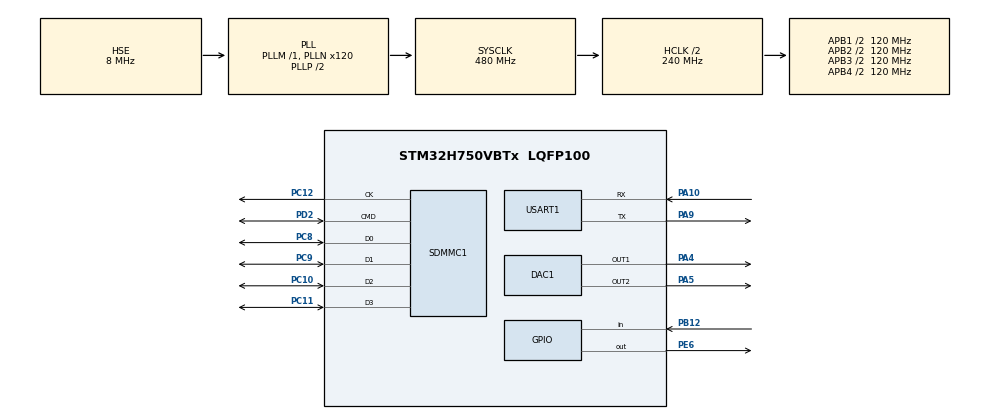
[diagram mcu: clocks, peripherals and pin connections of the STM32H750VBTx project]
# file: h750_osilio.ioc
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CORTEX_M7.default_mode_Activation=1
DAC1.DAC1_OutputBuffer-DAC_OUT1=DAC_OUTPUTBUFFER_ENABLE
DAC1.DAC2_OutputBuffer-DAC_OUT2=DAC_OUTPUTBUFFER_ENABLE
DAC1.DAC_Channel-DAC_OUT1=DAC_CHANNEL_1
DAC1.DAC_Channel-DAC_OUT2=DAC_CHANNEL_2
DAC1.DAC_Trigger-DAC_OUT1=DAC_TRIGGER_T6_TRGO
DAC1.DAC_Trigger-DAC_OUT2=DAC_TRIGGER_T6_TRGO
Dma.DAC1_CH1.0.Direction=DMA_MEMORY_TO_PERIPH
Dma.DAC1_CH1.0.EventEnable=DISABLE
Dma.DAC1_CH1.0.FIFOMode=DMA_FIFOMODE_DISABLE
Dma.DAC1_CH1.0.Instance=DMA1_Stream0
Dma.DAC1_CH1.0.MemDataAlignment=DMA_MDATAALIGN_HALFWORD
Dma.DAC1_CH1.0.MemInc=DMA_MINC_ENABLE
Dma.DAC1_CH1.0.Mode=DMA_CIRCULAR
Dma.DAC1_CH1.0.PeriphDataAlignment=DMA_PDATAALIGN_HALFWORD
Dma.DAC1_CH1.0.PeriphInc=DMA_PINC_DISABLE
Dma.DAC1_CH1.0.Polarity=HAL_DMAMUX_REQ_GEN_RISING
Dma.DAC1_CH1.0.Priority=DMA_PRIORITY_LOW
Dma.DAC1_CH1.0.RequestNumber=1
Dma.DAC1_CH1.0.SignalID=NONE
Dma.DAC1_CH1.0.SyncEnable=DISABLE
Dma.DAC1_CH1.0.SyncPolarity=HAL_DMAMUX_SYNC_NO_EVENT
Dma.DAC1_CH1.0.SyncRequestNumber=1
Dma.DAC1_CH1.0.SyncSignalID=NONE
Dma.DAC1_CH2.1.Direction=DMA_MEMORY_TO_PERIPH
Dma.DAC1_CH2.1.EventEnable=DISABLE
Dma.DAC1_CH2.1.FIFOMode=DMA_FIFOMODE_DISABLE
Dma.DAC1_CH2.1.Instance=DMA1_Stream1
Dma.DAC1_CH2.1.MemDataAlignment=DMA_MDATAALIGN_HALFWORD
Dma.DAC1_CH2.1.MemInc=DMA_MINC_ENABLE
Dma.DAC1_CH2.1.Mode=DMA_CIRCULAR
Dma.DAC1_CH2.1.PeriphDataAlignment=DMA_PDATAALIGN_HALFWORD
Dma.DAC1_CH2.1.PeriphInc=DMA_PINC_DISABLE
Dma.DAC1_CH2.1.Polarity=HAL_DMAMUX_REQ_GEN_RISING
Dma.DAC1_CH2.1.Priority=DMA_PRIORITY_LOW
Dma.DAC1_CH2.1.RequestNumber=1
Dma.DAC1_CH2.1.SignalID=NONE
Dma.DAC1_CH2.1.SyncEnable=DISABLE
Dma.DAC1_CH2.1.SyncPolarity=HAL_DMAMUX_SYNC_NO_EVENT
Dma.DAC1_CH2.1.SyncRequestNumber=1
Dma.DAC1_CH2.1.SyncSignalID=NONE
Dma.Request0=DAC1_CH1
Dma.Request1=DAC1_CH2
FATFS.BSP.number=1
FATFS.USE_DMA_CODE_SD=1
FATFS._USE_LFN=1
FATFS0.BSP.STBoard=false
FATFS0.BSP.api=Unknown
FATFS0.BSP.instance=PB12
FATFS0.BSP.ip=GPIO
FATFS0.BSP.mode=Input
FATFS0.BSP.name=Detect_SDIO
FATFS0.BSP.solution=PB12
Mcu.Family=STM32H7
Mcu.Name=STM32H750VBTx
Mcu.Package=LQFP100
NVIC.DMA1_Stream0_IRQn=true\:2\:0\:true\:false\:true\:false\:true\:true
NVIC.DMA1_Stream1_IRQn=true\:2\:0\:true\:false\:true\:false\:true\:true
NVIC.PriorityGroup=NVIC_PRIORITYGROUP_4
NVIC.SDMMC1_IRQn=true\:1\:0\:true\:false\:true\:true\:true\:true
NVIC.USART1_IRQn=true\:2\:0\:true\:false\:true\:true\:true\:true
PA10.Mode=Asynchronous
PA10.Signal=USART1_RX
PA13\ (JTMS/SWDIO).Mode=Serial_Wire
PA13\ (JTMS/SWDIO).Signal=DEBUG_JTMS-SWDIO
PA14\ (JTCK/SWCLK).Mode=Serial_Wire
PA14\ (JTCK/SWCLK).Signal=DEBUG_JTCK-SWCLK
PA4.Signal=COMP_DAC11_group
PA5.Signal=COMP_DAC12_group
PA9.Mode=Asynchronous
PA9.Signal=USART1_TX
PB12.GPIO_PuPd=GPIO_PULLDOWN
PB12.Signal=GPIO_Input
PC10.Mode=SD_4_bits_Wide_bus
PC10.Signal=SDMMC1_D2
PC11.Mode=SD_4_bits_Wide_bus
PC11.Signal=SDMMC1_D3
PC12.Mode=SD_4_bits_Wide_bus
PC12.Signal=SDMMC1_CK
PC8.Mode=SD_4_bits_Wide_bus
PC8.Signal=SDMMC1_D0
PC9.Mode=SD_4_bits_Wide_bus
PC9.Signal=SDMMC1_D1
PD2.Mode=SD_4_bits_Wide_bus
PD2.Signal=SDMMC1_CMD
PE6.Signal=GPIO_Output
PH0-OSC_IN\ (PH0).Mode=HSE-External-Oscillator
PH0-OSC_IN\ (PH0).Signal=RCC_OSC_IN
PH1-OSC_OUT\ (PH1).Mode=HSE-External-Oscillator
PH1-OSC_OUT\ (PH1).Signal=RCC_OSC_OUT
ProjectManager.HeapSize=0x2800
ProjectManager.StackSize=0x1400
ProjectManager.TargetToolchain=STM32CubeIDE
RCC.ADCFreq_Value=16125000
RCC.APB1Freq_Value=120000000
RCC.APB2Freq_Value=120000000
RCC.APB3Freq_Value=120000000
RCC.APB4Freq_Value=120000000
RCC.CortexFreq_Value=480000000
RCC.D1PPRE=RCC_APB3_DIV2
RCC.D2PPRE1=RCC_APB1_DIV2
RCC.D2PPRE2=RCC_APB2_DIV2
RCC.D3PPRE=RCC_APB4_DIV2
RCC.DIVM1=1
RCC.DIVN1=120
RCC.DIVQ1=4
RCC.HCLKFreq_Value=240000000
RCC.HPRE=RCC_HCLK_DIV2
RCC.HSE_VALUE=8000000
RCC.PLLFRACN=0
RCC.PLLSourceVirtual=RCC_PLLSOURCE_HSE
RCC.SYSCLKFreq_VALUE=480000000
RCC.SYSCLKSource=RCC_SYSCLKSOURCE_PLLCLK
RCC.USBFreq_Value=240000000
SDMMC1.ClockDiv=3
SH.COMP_DAC11_group.0=DAC1_OUT1,DAC_OUT1
SH.COMP_DAC12_group.0=DAC1_OUT2,DAC_OUT2
TIM6.Period=71
TIM6.TIM_MasterOutputTrigger=TIM_TRGO_UPDATE
USART1.VirtualMode-Asynchronous=VM_ASYNC
VP_FATFS_VS_SDIO.Mode=SDIO
VP_MEMORYMAP_VS_MEMORYMAP.Mode=CurAppReg
VP_TIM6_VS_ClockSourceINT.Mode=Enable_Timer
board=custom

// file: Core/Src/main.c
/* USER CODE BEGIN Header */
/**
  ******************************************************************************
  * @file           : main.c
  * @brief          : Main program body
  ******************************************************************************
  * @attention
  *
  * Copyright (c) 2025 STMicroelectronics.
  * All rights reserved.
  *
  * This software is licensed under terms that can be found in the LICENSE file
  * in the root directory of this software component.
  * If no LICENSE file comes with this software, it is provided AS-IS.
  *
  ******************************************************************************
  */
/* USER CODE END Header */
#include "main.h"
#include "fatfs.h"

/* USER CODE BEGIN Includes */
#include <math.h>
#include <stdio.h>
#include <string.h>
/* USER CODE END Includes */

/* USER CODE BEGIN PM */
#define PI 3.1415926535897932384626433832795
#define SIG_N 60000
#define PLAY_CNT 5

/* USER CODE END PM */

DAC_HandleTypeDef hdac1;
DMA_HandleTypeDef hdma_dac1_ch1;
DMA_HandleTypeDef hdma_dac1_ch2;

SD_HandleTypeDef hsd1;

TIM_HandleTypeDef htim6;

UART_HandleTypeDef huart1;

/* USER CODE BEGIN PV */
uint16_t frame_total;
float_t	 target_fps;
uint16_t frame_size;

float_t play_cnt;

uint32_t cur_play;
uint16_t signalXY[2][SIG_N * 2];

uint32_t frame_idx;
uint32_t play_idx;

uint32_t start_tick;
/* USER CODE END PV */

void SystemClock_Config(void);
static void MPU_Config(void);
static void MX_GPIO_Init(void);
static void MX_DMA_Init(void);
static void MX_DAC1_Init(void);
static void MX_TIM6_Init(void);
static void MX_SDMMC1_SD_Init(void);
static void MX_USART1_UART_Init(void);
/* USER CODE BEGIN PFP */
#ifdef __GNUC__
#define PUTCHAR_PROTOTYPE int __io_putchar(int ch)
#else
#define PUTCHAR_PROTOTYPE int fputc(int ch, FILE *f)
#endif
PUTCHAR_PROTOTYPE {
	HAL_UART_Transmit(&huart1, (uint8_t *) &ch, 1, HAL_MAX_DELAY);
	return ch;
}
/* USER CODE END PFP */

/* USER CODE BEGIN 0 */
int LoadSDFileInfo() {
	FRESULT f_res = f_open(&SDFile, "play.bin", FA_READ);
	if (f_res != FR_OK) {
  	return 1;
	}

	uint8_t buffer[6];
	uint32_t br;
	f_res = f_read(&SDFile, (uint8_t *) buffer, 6, &br);

	target_fps = ((uint16_t)buffer[1] << 8 | buffer[0]) / 100.0;
	frame_total = (uint16_t)buffer[3] << 8 | buffer[2];
	frame_size = (uint16_t)buffer[5] << 8 | buffer[4];

	/*
	 * clock fq = 240MHz
	 * TIM6 = 240M / (71+1) = 3MHz
	 * DAC fq = 3MSa/s
	 * fps = DAC fq / frameSize / playCnt =let= targetFps
	 * playCnt = DAC fq / frameSize / targetFps
	 */
	play_cnt = 3000000.0 / frame_size / target_fps;
	if (play_cnt < 1 || frame_size > SIG_N) {
		return 1;
	}

	printf("> frame_total = %d\n", (int)frame_total);
	printf("> target_fps(*100) = %d\n", (int)(target_fps * 100));
	printf("> frame_size = %d\n", (int)frame_size);
	printf("> calculated play_cnt ~= %d\n", (int)play_cnt);
	start_tick = HAL_GetTick();
	return 0;
}
void LoadSDFileFrame(int firstFrame) {
  uint32_t br;
  FRESULT f_res = f_read(&SDFile, (uint8_t *) &signalXY[cur_play ^ 1][0], frame_size * 4, &br);
  frame_idx = (frame_idx + 1) % frame_total;
  if (!frame_idx) {
  	f_lseek(&SDFile, 6);
  	start_tick = HAL_GetTick();
  }
}

void setDAC() {
	float cur_fps = 1.0 * frame_idx / ((HAL_GetTick() - start_tick) * 0.001);
  if (cur_fps < target_fps) {
  	cur_play ^= 1;
  	HAL_TIM_Base_Stop(&htim6);
  	HAL_DAC_Stop_DMA(&hdac1, DAC_CHANNEL_1);
  	HAL_DAC_Stop_DMA(&hdac1, DAC_CHANNEL_2);
  	HAL_DAC_Start_DMA(&hdac1, DAC_CHANNEL_1, (uint32_t *) signalXY[cur_play],				 				 frame_size, DAC_ALIGN_12B_R);
  	HAL_DAC_Start_DMA(&hdac1, DAC_CHANNEL_2, (uint32_t *) (signalXY[cur_play] + frame_size), frame_size, DAC_ALIGN_12B_R);
  	HAL_TIM_Base_Start(&htim6);
  	LoadSDFileFrame(0);
//  	printf("fps = %d\n", (int)(cur_fps * 100));
  }
}
void HAL_DACEx_ConvCpltCallbackCh2(DAC_HandleTypeDef *hdac) {
	setDAC();
}
/* USER CODE END 0 */

int main(void)
{

  /* MPU Configuration--------------------------------------------------------*/
  MPU_Config();

  /* MCU Configuration--------------------------------------------------------*/

  /* Reset of all peripherals, Initializes the Flash interface and the Systick. */
  HAL_Init();

  /* Configure the system clock */
  SystemClock_Config();

  /* Initialize all configured peripherals */
  MX_GPIO_Init();
  MX_DMA_Init();
  MX_DAC1_Init();
  MX_TIM6_Init();
  MX_SDMMC1_SD_Init();
  MX_FATFS_Init();
  MX_USART1_UART_Init();
  /* USER CODE BEGIN 2 */
  if (f_mount(&SDFatFS, "0:", 1) != FR_OK) {
		printf("mount failed.\n");
	} else {
		printf("mount OK.\n");
	}
	HAL_Delay(200);

	int infoRes = LoadSDFileInfo();
	if (infoRes) {
		if (infoRes == 2) {
			printf("too many points or too high fps");
		}
		while (1) {
			; // Read info error.
		}
	}

	frame_idx = 0;
	play_idx = 0;
	cur_play = 0;

	LoadSDFileFrame(1);

	if (frame_total == 1) {
		cur_play ^= 1;
		HAL_TIM_Base_Stop(&htim6);
		HAL_DAC_Stop_DMA(&hdac1, DAC_CHANNEL_1);
		HAL_DAC_Stop_DMA(&hdac1, DAC_CHANNEL_2);
		HAL_DAC_Start_DMA(&hdac1, DAC_CHANNEL_1, (uint32_t *) signalXY[cur_play],				 				 frame_size, DAC_ALIGN_12B_R);
		HAL_DAC_Start_DMA(&hdac1, DAC_CHANNEL_2, (uint32_t *) (signalXY[cur_play] + frame_size), frame_size, DAC_ALIGN_12B_R);
		HAL_TIM_Base_Start(&htim6);

		while (1) {
			;
		}
	}

	HAL_TIM_Base_Stop(&htim6);
	HAL_DAC_Stop_DMA(&hdac1, DAC_CHANNEL_1);
	HAL_DAC_Stop_DMA(&hdac1, DAC_CHANNEL_2);
	HAL_DAC_Start_DMA(&hdac1, DAC_CHANNEL_1, (uint32_t *) signalXY[cur_play],				 				 frame_size, DAC_ALIGN_12B_R);
	HAL_DAC_Start_DMA(&hdac1, DAC_CHANNEL_2, (uint32_t *) (signalXY[cur_play] + frame_size), frame_size, DAC_ALIGN_12B_R);
	HAL_TIM_Base_Start(&htim6);
	LoadSDFileFrame(0);
  /* USER CODE END 2 */

  /* Infinite loop */
  while (1)
  {

  }
}

void SystemClock_Config(void)
{
  RCC_OscInitTypeDef RCC_OscInitStruct = {0};
  RCC_ClkInitTypeDef RCC_ClkInitStruct = {0};

  /** Supply configuration update enable
  */
  HAL_PWREx_ConfigSupply(PWR_LDO_SUPPLY);

  /** Configure the main internal regulator output voltage
  */
  __HAL_PWR_VOLTAGESCALING_CONFIG(PWR_REGULATOR_VOLTAGE_SCALE0);

  while(!__HAL_PWR_GET_FLAG(PWR_FLAG_VOSRDY)) {}

  /** Initializes the RCC Oscillators according to the specified parameters
  * in the RCC_OscInitTypeDef structure.
  */
  RCC_OscInitStruct.OscillatorType = RCC_OSCILLATORTYPE_HSE;
  RCC_OscInitStruct.HSEState = RCC_HSE_ON;
  RCC_OscInitStruct.PLL.PLLState = RCC_PLL_ON;
  RCC_OscInitStruct.PLL.PLLSource = RCC_PLLSOURCE_HSE;
  RCC_OscInitStruct.PLL.PLLM = 1;
  RCC_OscInitStruct.PLL.PLLN = 120;
  RCC_OscInitStruct.PLL.PLLP = 2;
  RCC_OscInitStruct.PLL.PLLQ = 4;
  RCC_OscInitStruct.PLL.PLLR = 2;
  RCC_OscInitStruct.PLL.PLLRGE = RCC_PLL1VCIRANGE_3;
  RCC_OscInitStruct.PLL.PLLVCOSEL = RCC_PLL1VCOWIDE;
  RCC_OscInitStruct.PLL.PLLFRACN = 0;
  if (HAL_RCC_OscConfig(&RCC_OscInitStruct) != HAL_OK)
  {
    Error_Handler();
  }

  /** Initializes the CPU, AHB and APB buses clocks
  */
  RCC_ClkInitStruct.ClockType = RCC_CLOCKTYPE_HCLK|RCC_CLOCKTYPE_SYSCLK
                              |RCC_CLOCKTYPE_PCLK1|RCC_CLOCKTYPE_PCLK2
                              |RCC_CLOCKTYPE_D3PCLK1|RCC_CLOCKTYPE_D1PCLK1;
  RCC_ClkInitStruct.SYSCLKSource = RCC_SYSCLKSOURCE_PLLCLK;
  RCC_ClkInitStruct.SYSCLKDivider = RCC_SYSCLK_DIV1;
  RCC_ClkInitStruct.AHBCLKDivider = RCC_HCLK_DIV2;
  RCC_ClkInitStruct.APB3CLKDivider = RCC_APB3_DIV2;
  RCC_ClkInitStruct.APB1CLKDivider = RCC_APB1_DIV2;
  RCC_ClkInitStruct.APB2CLKDivider = RCC_APB2_DIV2;
  RCC_ClkInitStruct.APB4CLKDivider = RCC_APB4_DIV2;

  if (HAL_RCC_ClockConfig(&RCC_ClkInitStruct, FLASH_LATENCY_4) != HAL_OK)
  {
    Error_Handler();
  }
}

static void MX_DAC1_Init(void)
{

  DAC_ChannelConfTypeDef sConfig = {0};

  /** DAC Initialization
  */
  hdac1.Instance = DAC1;
  if (HAL_DAC_Init(&hdac1) != HAL_OK)
  {
    Error_Handler();
  }

  /** DAC channel OUT1 config
  */
  sConfig.DAC_SampleAndHold = DAC_SAMPLEANDHOLD_DISABLE;
  sConfig.DAC_Trigger = DAC_TRIGGER_T6_TRGO;
  sConfig.DAC_OutputBuffer = DAC_OUTPUTBUFFER_ENABLE;
  sConfig.DAC_ConnectOnChipPeripheral = DAC_CHIPCONNECT_DISABLE;
  sConfig.DAC_UserTrimming = DAC_TRIMMING_FACTORY;
  if (HAL_DAC_ConfigChannel(&hdac1, &sConfig, DAC_CHANNEL_1) != HAL_OK)
  {
    Error_Handler();
  }

  /** DAC channel OUT2 config
  */
  if (HAL_DAC_ConfigChannel(&hdac1, &sConfig, DAC_CHANNEL_2) != HAL_OK)
  {
    Error_Handler();
  }

}

static void MX_SDMMC1_SD_Init(void)
{

  hsd1.Instance = SDMMC1;
  hsd1.Init.ClockEdge = SDMMC_CLOCK_EDGE_RISING;
  hsd1.Init.ClockPowerSave = SDMMC_CLOCK_POWER_SAVE_DISABLE;
  hsd1.Init.BusWide = SDMMC_BUS_WIDE_4B;
  hsd1.Init.HardwareFlowControl = SDMMC_HARDWARE_FLOW_CONTROL_DISABLE;
  hsd1.Init.ClockDiv = 3;
  if (HAL_SD_Init(&hsd1) != HAL_OK)
  {
    Error_Handler();
  }

}

static void MX_TIM6_Init(void)
{

  TIM_MasterConfigTypeDef sMasterConfig = {0};

  htim6.Instance = TIM6;
  htim6.Init.Prescaler = 0;
  htim6.Init.CounterMode = TIM_COUNTERMODE_UP;
  htim6.Init.Period = 71;
  htim6.Init.AutoReloadPreload = TIM_AUTORELOAD_PRELOAD_DISABLE;
  if (HAL_TIM_Base_Init(&htim6) != HAL_OK)
  {
    Error_Handler();
  }
  sMasterConfig.MasterOutputTrigger = TIM_TRGO_UPDATE;
  sMasterConfig.MasterSlaveMode = TIM_MASTERSLAVEMODE_DISABLE;
  if (HAL_TIMEx_MasterConfigSynchronization(&htim6, &sMasterConfig) != HAL_OK)
  {
    Error_Handler();
  }

}

static void MX_USART1_UART_Init(void)
{

  huart1.Instance = USART1;
  huart1.Init.BaudRate = 115200;
  huart1.Init.WordLength = UART_WORDLENGTH_8B;
  huart1.Init.StopBits = UART_STOPBITS_1;
  huart1.Init.Parity = UART_PARITY_NONE;
  huart1.Init.Mode = UART_MODE_TX_RX;
  huart1.Init.HwFlowCtl = UART_HWCONTROL_NONE;
  huart1.Init.OverSampling = UART_OVERSAMPLING_16;
  huart1.Init.OneBitSampling = UART_ONE_BIT_SAMPLE_DISABLE;
  huart1.Init.ClockPrescaler = UART_PRESCALER_DIV1;
  huart1.AdvancedInit.AdvFeatureInit = UART_ADVFEATURE_NO_INIT;
  if (HAL_UART_Init(&huart1) != HAL_OK)
  {
    Error_Handler();
  }
  if (HAL_UARTEx_SetTxFifoThreshold(&huart1, UART_TXFIFO_THRESHOLD_1_8) != HAL_OK)
  {
    Error_Handler();
  }
  if (HAL_UARTEx_SetRxFifoThreshold(&huart1, UART_RXFIFO_THRESHOLD_1_8) != HAL_OK)
  {
    Error_Handler();
  }
  if (HAL_UARTEx_DisableFifoMode(&huart1) != HAL_OK)
  {
    Error_Handler();
  }

}

static void MX_DMA_Init(void)
{

  /* DMA controller clock enable */
  __HAL_RCC_DMA1_CLK_ENABLE();

  /* DMA interrupt init */
  /* DMA1_Stream0_IRQn interrupt configuration */
  HAL_NVIC_SetPriority(DMA1_Stream0_IRQn, 2, 0);
  HAL_NVIC_EnableIRQ(DMA1_Stream0_IRQn);
  /* DMA1_Stream1_IRQn interrupt configuration */
  HAL_NVIC_SetPriority(DMA1_Stream1_IRQn, 2, 0);
  HAL_NVIC_EnableIRQ(DMA1_Stream1_IRQn);

}

static void MX_GPIO_Init(void)
{
  GPIO_InitTypeDef GPIO_InitStruct = {0};

  /* GPIO Ports Clock Enable */
  __HAL_RCC_GPIOE_CLK_ENABLE();
  __HAL_RCC_GPIOH_CLK_ENABLE();
  __HAL_RCC_GPIOA_CLK_ENABLE();
  __HAL_RCC_GPIOB_CLK_ENABLE();
  __HAL_RCC_GPIOC_CLK_ENABLE();
  __HAL_RCC_GPIOD_CLK_ENABLE();

  /*Configure GPIO pin Output Level */
  HAL_GPIO_WritePin(GPIOE, GPIO_PIN_6, GPIO_PIN_RESET);

  /*Configure GPIO pin : PE6 */
  GPIO_InitStruct.Pin = GPIO_PIN_6;
  GPIO_InitStruct.Mode = GPIO_MODE_OUTPUT_PP;
  GPIO_InitStruct.Pull = GPIO_NOPULL;
  GPIO_InitStruct.Speed = GPIO_SPEED_FREQ_LOW;
  HAL_GPIO_Init(GPIOE, &GPIO_InitStruct);

  /*Configure GPIO pin : PB12 */
  GPIO_InitStruct.Pin = GPIO_PIN_12;
  GPIO_InitStruct.Mode = GPIO_MODE_INPUT;
  GPIO_InitStruct.Pull = GPIO_PULLDOWN;
  HAL_GPIO_Init(GPIOB, &GPIO_InitStruct);

}

 /* MPU Configuration */

void MPU_Config(void)
{
  MPU_Region_InitTypeDef MPU_InitStruct = {0};

  /* Disables the MPU */
  HAL_MPU_Disable();

  /** Initializes and configures the Region and the memory to be protected
  */
  MPU_InitStruct.Enable = MPU_REGION_ENABLE;
  MPU_InitStruct.Number = MPU_REGION_NUMBER0;
  MPU_InitStruct.BaseAddress = 0x0;
  MPU_InitStruct.Size = MPU_REGION_SIZE_4GB;
  MPU_InitStruct.SubRegionDisable = 0x87;
  MPU_InitStruct.TypeExtField = MPU_TEX_LEVEL0;
  MPU_InitStruct.AccessPermission = MPU_REGION_NO_ACCESS;
  MPU_InitStruct.DisableExec = MPU_INSTRUCTION_ACCESS_DISABLE;
  MPU_InitStruct.IsShareable = MPU_ACCESS_SHAREABLE;
  MPU_InitStruct.IsCacheable = MPU_ACCESS_NOT_CACHEABLE;
  MPU_InitStruct.IsBufferable = MPU_ACCESS_NOT_BUFFERABLE;

  HAL_MPU_ConfigRegion(&MPU_InitStruct);
  /* Enables the MPU */
  HAL_MPU_Enable(MPU_PRIVILEGED_DEFAULT);

}

void Error_Handler(void)
{
  __disable_irq();
  while (1)
  {
  }
}
